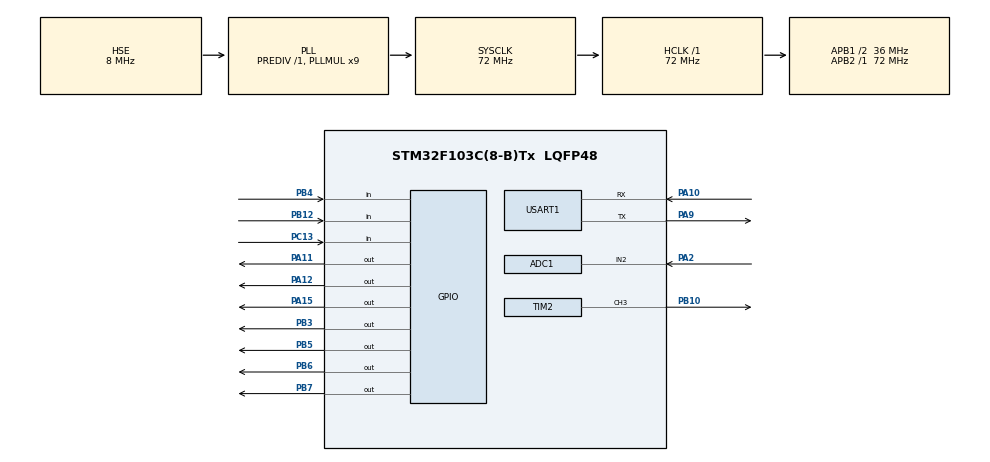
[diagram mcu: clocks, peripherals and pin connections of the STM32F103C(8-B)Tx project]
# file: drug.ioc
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ADC1.Channel-0\#ChannelRegularConversion=ADC_CHANNEL_2
ADC1.NbrOfConversion=1
ADC1.NbrOfConversionFlag=1
ADC1.Rank-0\#ChannelRegularConversion=1
ADC1.SamplingTime-0\#ChannelRegularConversion=ADC_SAMPLETIME_1CYCLE_5
ADC1.master=1
FREERTOS.Tasks01=defaultTask,24,128,StartDefaultTask,Default,NULL,Dynamic,NULL,NULL
FREERTOS.configTOTAL_HEAP_SIZE=8192
Mcu.Family=STM32F1
Mcu.Name=STM32F103C(8-B)Tx
Mcu.Package=LQFP48
NVIC.PriorityGroup=NVIC_PRIORITYGROUP_4
NVIC.TIM1_UP_IRQn=true\:15\:0\:false\:false\:true\:false\:false\:true\:true
NVIC.TimeBase=TIM1_UP_IRQn
NVIC.TimeBaseIP=TIM1
PA10.Mode=Asynchronous
PA10.Signal=USART1_RX
PA11.PinState=GPIO_PIN_RESET
PA11.Signal=GPIO_Output
PA12.PinState=GPIO_PIN_RESET
PA12.Signal=GPIO_Output
PA13.Mode=Serial_Wire
PA13.Signal=SYS_JTMS-SWDIO
PA14.Mode=Serial_Wire
PA14.Signal=SYS_JTCK-SWCLK
PA15.PinState=GPIO_PIN_RESET
PA15.Signal=GPIO_Output
PA2.Signal=ADCx_IN2
PA9.Mode=Asynchronous
PA9.Signal=USART1_TX
PB10.GPIO_Speed=GPIO_SPEED_FREQ_HIGH
PB10.Signal=S_TIM2_CH3
PB12.Signal=GPIO_Input
PB3.GPIO_Speed=GPIO_SPEED_FREQ_HIGH
PB3.PinState=GPIO_PIN_RESET
PB3.Signal=GPIO_Output
PB4.GPIO_Mode=GPIO_MODE_INPUT
PB4.GPIO_PuPd=GPIO_PULLUP
PB4.Signal=GPIO_Input
PB5.GPIO_Speed=GPIO_SPEED_FREQ_HIGH
PB5.PinState=GPIO_PIN_RESET
PB5.Signal=GPIO_Output
PB6.GPIO_Speed=GPIO_SPEED_FREQ_HIGH
PB6.PinState=GPIO_PIN_RESET
PB6.Signal=GPIO_Output
PB7.GPIO_Speed=GPIO_SPEED_FREQ_HIGH
PB7.PinState=GPIO_PIN_RESET
PB7.Signal=GPIO_Output
PC13-TAMPER-RTC.GPIO_PuPd=GPIO_PULLUP
PC13-TAMPER-RTC.Signal=GPIO_Input
PC14-OSC32_IN.Mode=LSE-External-Oscillator
PC14-OSC32_IN.Signal=RCC_OSC32_IN
PC15-OSC32_OUT.Mode=LSE-External-Oscillator
PC15-OSC32_OUT.Signal=RCC_OSC32_OUT
PD0-OSC_IN.Mode=HSE-External-Oscillator
PD0-OSC_IN.Signal=RCC_OSC_IN
PD1-OSC_OUT.Mode=HSE-External-Oscillator
PD1-OSC_OUT.Signal=RCC_OSC_OUT
ProjectManager.HeapSize=0x200
ProjectManager.StackSize=0x400
ProjectManager.TargetToolchain=MDK-ARM V5.32
RCC.ADCPresc=RCC_ADCPCLK2_DIV8
RCC.AHBFreq_Value=72000000
RCC.APB1CLKDivider=RCC_HCLK_DIV2
RCC.APB1Freq_Value=36000000
RCC.APB1TimFreq_Value=72000000
RCC.APB2Freq_Value=72000000
RCC.APB2TimFreq_Value=72000000
RCC.HCLKFreq_Value=72000000
RCC.PLLMUL=RCC_PLL_MUL9
RCC.PLLSourceVirtual=RCC_PLLSOURCE_HSE
RCC.SYSCLKFreq_VALUE=72000000
RCC.SYSCLKSource=RCC_SYSCLKSOURCE_PLLCLK
RCC.USBFreq_Value=72000000
SH.ADCx_IN2.0=ADC1_IN2,IN2
SH.S_TIM2_CH3.0=TIM2_CH3,PWM Generation3 CH3
TIM2.AutoReloadPreload=TIM_AUTORELOAD_PRELOAD_ENABLE
TIM2.Channel-PWM\ Generation3\ CH3=TIM_CHANNEL_3
TIM2.OCMode_PWM-PWM\ Generation3\ CH3=TIM_OCMODE_PWM1
TIM2.Period=19999
TIM2.Prescaler=71
USART1.VirtualMode=VM_ASYNC
VP_FREERTOS_VS_CMSIS_V2.Mode=CMSIS_V2
VP_SYS_VS_tim1.Mode=TIM1
board=custom

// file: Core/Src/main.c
/* USER CODE BEGIN Header */
/**
  ******************************************************************************
  * @file           : main.c
  * @brief          : Main program body
  ******************************************************************************
  * @attention
  *
  * Copyright (c) 2025 STMicroelectronics.
  * All rights reserved.
  *
  * This software is licensed under terms that can be found in the LICENSE file
  * in the root directory of this software component.
  * If no LICENSE file comes with this software, it is provided AS-IS.
  *
  ******************************************************************************
  */
/* USER CODE END Header */
#include "main.h"
#include "cmsis_os.h"
#include "adc.h"
#include "tim.h"
#include "usart.h"
#include "gpio.h"

void SystemClock_Config(void);
void MX_FREERTOS_Init(void);

int main(void)
{

  /* MCU Configuration--------------------------------------------------------*/

  /* Reset of all peripherals, Initializes the Flash interface and the Systick. */
  HAL_Init();

  /* Configure the system clock */
  SystemClock_Config();

  /* USER CODE BEGIN SysInit */
  // 启用AFIO时钟并重映射以释放JTAG引脚
  __HAL_RCC_AFIO_CLK_ENABLE();
  __HAL_AFIO_REMAP_SWJ_NOJTAG();
  /* USER CODE END SysInit */

  /* Initialize all configured peripherals */
  MX_GPIO_Init();
  MX_USART1_UART_Init();
  MX_ADC1_Init();
  MX_TIM2_Init();

  /* Init scheduler */
  osKernelInitialize();

  /* Call init function for freertos objects (in cmsis_os2.c) */
  MX_FREERTOS_Init();

  /* Start scheduler */
  osKernelStart();

  /* We should never get here as control is now taken by the scheduler */

  /* Infinite loop */
  while (1)
  {

  }
}

void SystemClock_Config(void)
{
  RCC_OscInitTypeDef RCC_OscInitStruct = {0};
  RCC_ClkInitTypeDef RCC_ClkInitStruct = {0};
  RCC_PeriphCLKInitTypeDef PeriphClkInit = {0};

  /** Initializes the RCC Oscillators according to the specified parameters
  * in the RCC_OscInitTypeDef structure.
  */
  RCC_OscInitStruct.OscillatorType = RCC_OSCILLATORTYPE_HSE;
  RCC_OscInitStruct.HSEState = RCC_HSE_ON;
  RCC_OscInitStruct.HSEPredivValue = RCC_HSE_PREDIV_DIV1;
  RCC_OscInitStruct.HSIState = RCC_HSI_ON;
  RCC_OscInitStruct.PLL.PLLState = RCC_PLL_ON;
  RCC_OscInitStruct.PLL.PLLSource = RCC_PLLSOURCE_HSE;
  RCC_OscInitStruct.PLL.PLLMUL = RCC_PLL_MUL9;
  if (HAL_RCC_OscConfig(&RCC_OscInitStruct) != HAL_OK)
  {
    Error_Handler();
  }

  /** Initializes the CPU, AHB and APB buses clocks
  */
  RCC_ClkInitStruct.ClockType = RCC_CLOCKTYPE_HCLK|RCC_CLOCKTYPE_SYSCLK
                              |RCC_CLOCKTYPE_PCLK1|RCC_CLOCKTYPE_PCLK2;
  RCC_ClkInitStruct.SYSCLKSource = RCC_SYSCLKSOURCE_PLLCLK;
  RCC_ClkInitStruct.AHBCLKDivider = RCC_SYSCLK_DIV1;
  RCC_ClkInitStruct.APB1CLKDivider = RCC_HCLK_DIV2;
  RCC_ClkInitStruct.APB2CLKDivider = RCC_HCLK_DIV1;

  if (HAL_RCC_ClockConfig(&RCC_ClkInitStruct, FLASH_LATENCY_2) != HAL_OK)
  {
    Error_Handler();
  }
  PeriphClkInit.PeriphClockSelection = RCC_PERIPHCLK_ADC;
  PeriphClkInit.AdcClockSelection = RCC_ADCPCLK2_DIV8;
  if (HAL_RCCEx_PeriphCLKConfig(&PeriphClkInit) != HAL_OK)
  {
    Error_Handler();
  }
}

void HAL_TIM_PeriodElapsedCallback(TIM_HandleTypeDef *htim)
{
  if (htim->Instance == TIM1) {
    HAL_IncTick();
  }
}

void Error_Handler(void)
{
  __disable_irq();
  while (1)
  {
  }
}

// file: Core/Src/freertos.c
/* USER CODE BEGIN Header */
/**
  ******************************************************************************
  * File Name          : freertos.c
  * Description        : Code for freertos applications
  ******************************************************************************
  * @attention
  *
  * Copyright (c) 2025 STMicroelectronics.
  * All rights reserved.
  *
  * This software is licensed under terms that can be found in the LICENSE file
  * in the root directory of this software component.
  * If no LICENSE file comes with this software, it is provided AS-IS.
  *
  ******************************************************************************
  */
/* USER CODE END Header */

#include "FreeRTOS.h"
#include "task.h"
#include "main.h"
#include "cmsis_os.h"

/* USER CODE BEGIN Includes */
#include "DHT11_HAL.h"
#include "OLED_HAL.h"
#include "MFRC522_HAL.h"
#include "Serial_HAL.h"

#include "RFID_Task.h"
#include "DHT11_Task.h"
#include "MQ135_Task.h"
#include "StackMonitor_Task.h"
#include "DOOR_LOCK_Task.h"
#include "Health_Status_Task.h"

/* USER CODE END Includes */

/* USER CODE BEGIN Variables */
osMutexId_t oledMutexHandle;  // OLED互斥量句柄
osMutexId_t co2MutexHandle;   // CO2值互斥量句柄

/* USER CODE END Variables */
/* Definitions for defaultTask */
osThreadId_t defaultTaskHandle;
const osThreadAttr_t defaultTask_attributes = {
  .name = "defaultTask",
  .stack_size = 128 * 4,
  .priority = (osPriority_t) osPriorityNormal,
};

void StartDefaultTask(void *argument);

void MX_FREERTOS_Init(void); /* (MISRA C 2004 rule 8.1) */

void MX_FREERTOS_Init(void) {
  /* USER CODE BEGIN Init */
  //1.硬件初始化
  Serial_Init();
  DHT11_Init();
  OLED_Init();
  OLED_Clear();

 //3.任务初始化
  RFID_Task_Init(); // 初始化RFID任务
  DHT11_Task_Init(); // 初始化DHT11任务
  MQ135_Task_Init(); // 初始化MQ135任务
  StackMonitor_Task_Init(); // 初始化堆栈监控任务
  DOOR_LOCK_Task_Init(); // 初始化门锁任务
  Health_Status_Task_Init(); // 初始化健康状态任务
  /* USER CODE END Init */

  /* USER CODE BEGIN RTOS_MUTEX */
  /* add mutexes, ... */
  //系统资源初始化
  // 创建OLED互斥锁
  oledMutexHandle = osMutexNew(NULL);
  // 创建CO2值互斥锁
  co2MutexHandle = osMutexNew(NULL);
  /* USER CODE END RTOS_MUTEX */

  /* Create the thread(s) */
  /* creation of defaultTask */
  defaultTaskHandle = osThreadNew(StartDefaultTask, NULL, &defaultTask_attributes);

  /* USER CODE BEGIN RTOS_THREADS */
  /* add threads, ... */

  rfidTaskHandle = osThreadNew(StartRFIDTask, NULL, &rfidTask_attributes); // 创建RFID任务

  MQ135TaskHandle = osThreadNew(MQ135Task, NULL, &MQ135Task_attributes); // 创建MQ135任务
  // DoorLockTaskHandle = osThreadNew(DOOR_LOCK_Task, NULL, &DoorLockTask_attributes); // 创建门锁任务（已移至DOOR_LOCK_Task_Init函数中）
  /* USER CODE END RTOS_THREADS */

}

void StartDefaultTask(void *argument)
{
  /* USER CODE BEGIN StartDefaultTask */
  /* Infinite loop */
  for(;;)
  {
    osDelay(5000);
  }
  /* USER CODE END StartDefaultTask */
}
